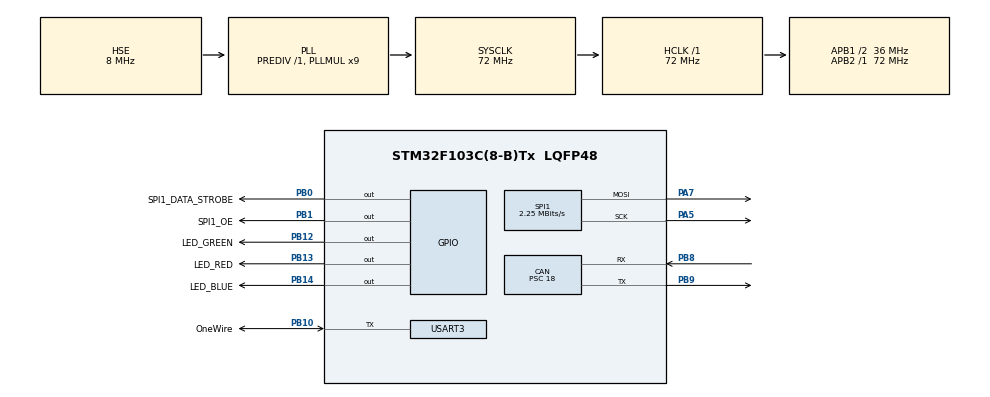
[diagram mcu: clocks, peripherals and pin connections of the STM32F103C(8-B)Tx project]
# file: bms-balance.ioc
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CAN.BS1=CAN_BS1_2TQ
CAN.CalculateBaudRate=500000
CAN.CalculateTimeBit=2000
CAN.CalculateTimeQuantum=500.0
CAN.Prescaler=18
Dma.Request0=USART3_TX
Dma.Request1=USART3_RX
Dma.USART3_RX.1.Direction=DMA_PERIPH_TO_MEMORY
Dma.USART3_RX.1.Instance=DMA1_Channel3
Dma.USART3_RX.1.MemDataAlignment=DMA_MDATAALIGN_BYTE
Dma.USART3_RX.1.MemInc=DMA_MINC_ENABLE
Dma.USART3_RX.1.Mode=DMA_NORMAL
Dma.USART3_RX.1.PeriphDataAlignment=DMA_PDATAALIGN_BYTE
Dma.USART3_RX.1.PeriphInc=DMA_PINC_DISABLE
Dma.USART3_RX.1.Priority=DMA_PRIORITY_LOW
Dma.USART3_TX.0.Direction=DMA_MEMORY_TO_PERIPH
Dma.USART3_TX.0.Instance=DMA1_Channel2
Dma.USART3_TX.0.MemDataAlignment=DMA_MDATAALIGN_BYTE
Dma.USART3_TX.0.MemInc=DMA_MINC_ENABLE
Dma.USART3_TX.0.Mode=DMA_NORMAL
Dma.USART3_TX.0.PeriphDataAlignment=DMA_PDATAALIGN_BYTE
Dma.USART3_TX.0.PeriphInc=DMA_PINC_DISABLE
Dma.USART3_TX.0.Priority=DMA_PRIORITY_LOW
Mcu.Family=STM32F1
Mcu.Name=STM32F103C(8-B)Tx
Mcu.Package=LQFP48
NVIC.CAN1_RX1_IRQn=true\:0\:0\:false\:false\:true\:true\:true\:true
NVIC.DMA1_Channel2_IRQn=true\:0\:0\:false\:false\:true\:false\:true\:true
NVIC.DMA1_Channel3_IRQn=true\:0\:0\:false\:false\:true\:false\:true\:true
NVIC.PriorityGroup=NVIC_PRIORITYGROUP_4
NVIC.SPI1_IRQn=true\:0\:0\:false\:false\:true\:true\:true\:true
NVIC.TIM4_IRQn=true\:0\:0\:false\:false\:true\:true\:true\:true
NVIC.USART3_IRQn=true\:0\:0\:false\:false\:true\:true\:true\:true
NVIC.USB_LP_CAN1_RX0_IRQn=true\:0\:0\:false\:false\:true\:true\:true\:true
PA1.GPIO_Label=WS2812B_LED
PA1.GPIO_Speed=GPIO_SPEED_FREQ_HIGH
PA1.Signal=S_TIM2_CH2
PA13.Mode=Serial_Wire
PA13.Signal=SYS_JTMS-SWDIO
PA14.Mode=Serial_Wire
PA14.Signal=SYS_JTCK-SWCLK
PA5.Mode=TX_Only_Simplex_Unidirect_Master
PA5.Signal=SPI1_SCK
PA7.Mode=TX_Only_Simplex_Unidirect_Master
PA7.Signal=SPI1_MOSI
PB0.GPIO_Label=SPI1_DATA_STROBE
PB0.GPIO_PuPd=GPIO_NOPULL
PB0.GPIO_Speed=GPIO_SPEED_FREQ_LOW
PB0.PinState=GPIO_PIN_RESET
PB0.Signal=GPIO_Output
PB1.GPIO_Label=SPI1_OE
PB1.GPIO_PuPd=GPIO_PULLUP
PB1.GPIO_Speed=GPIO_SPEED_FREQ_LOW
PB1.PinState=GPIO_PIN_SET
PB1.Signal=GPIO_Output
PB10.GPIO_Label=OneWire
PB10.Mode=Half_duplex(single_wire_mode)
PB10.Signal=USART3_TX
PB12.GPIO_Label=LED_GREEN
PB12.Signal=GPIO_Output
PB13.GPIO_Label=LED_RED
PB13.Signal=GPIO_Output
PB14.GPIO_Label=LED_BLUE
PB14.Signal=GPIO_Output
PB3.Signal=SYS_JTDO-TRACESWO
PB8.Mode=CAN_Activate
PB8.Signal=CAN_RX
PB9.Mode=CAN_Activate
PB9.Signal=CAN_TX
PC14-OSC32_IN.Signal=RCC_OSC32_IN
PC15-OSC32_OUT.Signal=RCC_OSC32_OUT
PD0-OSC_IN.Mode=HSE-External-Oscillator
PD0-OSC_IN.Signal=RCC_OSC_IN
PD1-OSC_OUT.Mode=HSE-External-Oscillator
PD1-OSC_OUT.Signal=RCC_OSC_OUT
ProjectManager.HeapSize=0x200
ProjectManager.StackSize=0x400
ProjectManager.TargetToolchain=STM32CubeIDE
RCC.ADCPresc=RCC_ADCPCLK2_DIV6
RCC.AHBFreq_Value=72000000
RCC.APB1CLKDivider=RCC_HCLK_DIV2
RCC.APB1Freq_Value=36000000
RCC.APB1TimFreq_Value=72000000
RCC.APB2Freq_Value=72000000
RCC.APB2TimFreq_Value=72000000
RCC.HCLKFreq_Value=72000000
RCC.PLLMUL=RCC_PLL_MUL9
RCC.PLLSourceVirtual=RCC_PLLSOURCE_HSE
RCC.RTCClockSelection=RCC_RTCCLKSOURCE_HSE_DIV128
RCC.SYSCLKFreq_VALUE=72000000
RCC.SYSCLKSource=RCC_SYSCLKSOURCE_PLLCLK
RCC.USBFreq_Value=48000000
RCC.USBPrescaler=RCC_USBCLKSOURCE_PLL_DIV1_5
SH.S_TIM2_CH2.0=TIM2_CH2
SPI1.BaudRatePrescaler=SPI_BAUDRATEPRESCALER_32
SPI1.CLKPolarity=SPI_POLARITY_HIGH
SPI1.CalculateBaudRate=2.25 MBits/s
SPI1.Direction=SPI_DIRECTION_2LINES
SPI1.Mode=SPI_MODE_MASTER
SPI1.VirtualType=VM_MASTER
TIM2.Period=104
TIM4.AutoReloadPreload=TIM_AUTORELOAD_PRELOAD_ENABLE
TIM4.Period=10000-1
TIM4.Prescaler=72-1
USART3.VirtualMode=VM_ASYNC
VP_CRC_VS_CRC.Mode=CRC_Activate
VP_TIM2_VS_ClockSourceINT.Mode=Internal
VP_TIM4_VS_ClockSourceINT.Mode=Internal
board=custom

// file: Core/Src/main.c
/* USER CODE BEGIN Header */
/**
  ******************************************************************************
  * @file           : main.c
  * @brief          : Main program body
  ******************************************************************************
  * @attention
  *
  * Copyright (c) 2023 STMicroelectronics.
  * All rights reserved.
  *
  * This software is licensed under terms that can be found in the LICENSE file
  * in the root directory of this software component.
  * If no LICENSE file comes with this software, it is provided AS-IS.
  *
  ******************************************************************************
  */
/* USER CODE END Header */
#include "main.h"
#include "can.h"
#include "crc.h"
#include "dma.h"
#include "spi.h"
#include "tim.h"
#include "usart.h"
#include "gpio.h"

/* USER CODE BEGIN Includes */
#include <stdio.h>
#include <math.h>
#include <string.h>

//#include "OneWire.h"
#include "dallas_temperature.h"
#include "UartOneWire.h"

#include <blk_balancer.h>
#ifdef __WS2812B__
#include "ws2812b.h"
#endif

#if __has_include("gitcommit.h")
	#include "gitcommit.h"
#else
	#define __GIT_SHORT_HASH__ 0x0000000
	#define __GIT_BRANCH__ "none"
	#define __GIT_DATE_STR__ "2025-01-25"
	#define __GIT_DATE_UT__ 1732571756
#endif

/* Fash memory organisation

		0x8020000 -> +-------------+   \
					 | 0x801FC00   |	\
					 |    to       |	 \
					 | 0x802FFFF   |	  |- Reserved for checksum and other informations
					 |   1 KB      |	 /
					 | data        |	/
		0x801FC00 -> +-------------+   {
					 | 0x801F800   |	\
					 |    to       |	 \
					 | 0x801FBFF   |	  |- Bootloader and device Config-Stuff
					 |   1 KB      |	 /		(Dev-Addr->Can-ID, can-baudrate, Boardtype, Boardversion ...)
					 | data        |	/		 @see dev_config_regs
		0x801F800 -> +-------------+   {
					 | 0x801F000   |	\
					 |    to       |	 \
					 | 0x801F7FF   |	  |- Applicaton Configdata
					 |   2 KB      |	 /		(Tempsensor ID-Lookup table, Calibration-Data, Thresholds, ...)
					 | data        |	/		 @see app_cfg_regs
		0x801F000 -> +-------------+   {
					 |             |	\
					 |             |	 \
					 |             |	  |
					 |             |	  |
					 | 0x8008000   |	  |
					 |    to       |	  |
					 | 0x801EFFF   |	  |- Contain the application software (this project)
					 |   92 KB     |	  |
					 | application |	  |
					 |             |	  |
					 |             |	  |
					 |             |	 /
					 |             |	/
		0x8008000 -> +-------------+   {
					 |             |	\
					 | 0x8000000   |	 \
					 |    to       |	  |
					 | 0x8007FFF   |	  |- Contain bootloader software
					 |   32 KB     |	  |		@see CAN_BOOT-Projecz
					 | bootloader  |	 /
					 |             |	/
		0x8000000 -> +-------------+   /
 */

/* USER CODE END Includes */

/* USER CODE BEGIN PV */
uint8_t main_task_scheduler;
uint8_t alive_timer;
uint16_t timer_10ms;

extern UART_HandleTypeDef huart3;
UartOneWire_HandleTypeDef ow;
DallasTemperatureData dt;

uint8_t resolution = TEMP_12_BIT;

//#define __DEBUG__

#ifdef __DEBUG__
////alles was persistend (im Flash) gespeichert werden soll, z.b. Kalibration, ...
__attribute__((__section__(".dev_config"))) const _DEV_CONFIG_REGS dev_config_regs = {
	__DEV_ID__,
	__BOARD_TYPE__,
	__BOARD_NAME__,
	__BOARD_VERSION__,
	__BOARD_MF_DATE__,
	DEAULT_BL_CAN_BITRATE,
	DEAULT_APP_CAN_BITRATE,
	DEAULT_TRIPP_CAN_ID,
	DEAULT_BROADCAST_CAN_ID
};
#endif

////Boardinfoname , ...
__attribute__((__section__(".board_info"))) _BOARD_INFO_STRUCT board_name = {__BOARD_NAME__};

////Softwareinfo, ...
__attribute__((__section__(".sw_info"))) const _SW_INFO_REGS sw_info_regs = {
	__SW_NAME__,
#ifdef __DEBUG__
	"Debug",
#else
	"Release",
#endif
	__SW_RELEASE__,
	__SW_RELEASE_DATE__,
	{	//git-info aus gitcommit.h
		__GIT_SHORT_HASH__,
		__GIT_DATE_UT__,
		__GIT_DATE_STR__,
		__GIT_BRANCH__,
	}
};

////alles was persistend (im Flash) gespeichert werden soll, z.b. Kalibration, ...
__attribute__((__section__(".app_config"))) const _BMS_BALANCE_CONFIG_REGS app_cfg_regs = {
#if defined (__DEBUG__)
	((1<<REG_ALERT_HEAT_SINK_TEMP) | (0<<REG_ALERT_BLK_VOLTAGE) | (0<<REG_ALERT_BLK_DIFF_VOLTAGE)), //allert_mask

	((0<<REG_ALERT_HEAT_SINK_TEMP) | (0<<REG_ALERT_BLK_VOLTAGE) | (0<<REG_ALERT_BLK_DIFF_VOLTAGE)), //crit_allert_mask
#else
	((1<<REG_ALERT_HEAT_SINK_TEMP) | (1<<REG_ALERT_BLK_VOLTAGE) | (1<<REG_ALERT_BLK_DIFF_VOLTAGE)), //allert_mask

	((0<<REG_ALERT_HEAT_SINK_TEMP) | (1<<REG_ALERT_BLK_VOLTAGE) | (1<<REG_ALERT_BLK_DIFF_VOLTAGE)), //crit_allert_mask
#endif
	{
		{5500,7900,(ENABLE_MAX_THRESHOLD|ENABLE_MIN_THRESHOLD)}, //blk_voltage 1/100 Volt
		{0,200,(ENABLE_MAX_THRESHOLD)}, //blk_voltage_div 1/1000 Volt
		{50,500,(ENABLE_MAX_THRESHOLD|ENABLE_MIN_THRESHOLD)}, //heatsink_temperature 1/10 °C
	}
};

//#if defined (__DEBUG__) && defined(__ALERT_DEBUG__)

const _DEV_CONFIG_REGS* pDevConfig = (const _DEV_CONFIG_REGS*)DEV_CONFIG_FL_ADDRESS;

/**
 * @var		main_regs
 * @brief	Registersatz im Ram (Arbeitsregister)
 * @see		MAIN_REGS
 * @see		main_ee_regs
 *
 */
_MAIN_REGS main_regs = {
	//!<RW CTRL Ein-/Ausschalten usw.  (1 BYTE )
	((1<<REG_CTRL_ACTIVATE) | (1<<REG_CTRL_CRIT_ALERT) | (1<<REG_CTRL_ENABLE_BB)  | (1<<REG_CTRL_ENABLE_OW) | (1<<REG_CTRL_ENABLE_WS2815) ),

	SYS_OK,
	ERR_NONE,
	STATE_OFF,

	ALIVE_TIMEOUT_10MS,

	0,
	0,
	0,
	0,
	0,
	0,

	{},	//_BMS_BALANCE_CONFIG_REGS	cfg_regs;
	{},	//_DEV_CONFIG_REGS			dev_config;	//copy of dev-config
	{},	//_SW_INFO_REGS				sw_info;	//copy of sw_info
	{},	//_BOARD_INFO_STRUCT		board_info;	//copy of board_info
};

/* USER CODE END PV */

void SystemClock_Config(void);
/* USER CODE BEGIN PFP */
uint8_t process_10Ms_Timer(void);
void 	AlertHandler(void);
uint8_t check_AlertThresholds(void);
/* USER CODE END PFP */

/* USER CODE BEGIN 0 */
int _write(int file, char *ptr, int len)
 {
	 int DataIdx;
	 for (DataIdx = 0; DataIdx < len; DataIdx++)
	 {
		 ITM_SendChar(*ptr++);
	 }
	 return len;
 }

_LED_SIGNAL_STATE	led_signal_state={1,SLOW_FLASH,OFF,OFF};

/****************************************************************************
  * @brief  The application entry point.
  * @retval int
  */
void set_signal_led(uint8_t led, _LED_SIGNAL_MASK mask)
{
	if(led & GREEN_LED)
		led_signal_state.green_led_mask=mask;

	if(led & RED_LED)
		led_signal_state.red_led_mask=mask;

	if(led & BLUE_LED) {
		led_signal_state.blue_led_mask=mask;
		led_signal_state.mask=1;
	}

	return;
}

/****************************************************************************
  * @brief  The application entry point.
  * @retval int
  */
void signal_led_task(void)
{

	if(led_signal_state.green_led_mask & led_signal_state.mask) {
		HAL_GPIO_WritePin(LED_GREEN_GPIO_Port, LED_GREEN_Pin, GPIO_PIN_SET);
	}else {
		HAL_GPIO_WritePin(LED_GREEN_GPIO_Port, LED_GREEN_Pin, GPIO_PIN_RESET);
	}

	if(led_signal_state.red_led_mask & led_signal_state.mask) {
		HAL_GPIO_WritePin(LED_RED_GPIO_Port, LED_RED_Pin, GPIO_PIN_SET);
	}else {
		HAL_GPIO_WritePin(LED_RED_GPIO_Port, LED_RED_Pin, GPIO_PIN_RESET);
	}

	if(led_signal_state.blue_led_mask & led_signal_state.mask) {
		HAL_GPIO_WritePin(LED_BLUE_GPIO_Port, LED_BLUE_Pin, GPIO_PIN_SET);
		led_signal_state.blue_led_mask &= + ~led_signal_state.mask;
	}else {
		HAL_GPIO_WritePin(LED_BLUE_GPIO_Port, LED_BLUE_Pin, GPIO_PIN_RESET);
	}

	led_signal_state.mask<<=1;
	if (!led_signal_state.mask) {
		led_signal_state.mask=1;
	}
}

/* USER CODE END 0 */

int main(void)
{
  /* USER CODE BEGIN 1 */
	uint8_t second_counter=1;
	main_task_scheduler = 0;
	alive_timer = 0;
	timer_10ms = 0;

	memcpy(&main_regs.cfg_regs, &app_cfg_regs, sizeof(_BMS_BALANCE_CONFIG_REGS));

	//copy dev-config from flash to ram (we will use it from ram)
	memcpy(&main_regs.dev_config, pDevConfig, sizeof(_DEV_CONFIG_REGS));

	//copy sofware-info from flash to ram (we will use it from ram)
	memcpy(&main_regs.sw_info, &sw_info_regs, sizeof(_SW_INFO_REGS));

	//copy board-name from flash to ram (we will use it from ram)
	memcpy(&main_regs.board_info, &board_name, sizeof(_BOARD_INFO_STRUCT));

  /* USER CODE END 1 */

  /* MCU Configuration--------------------------------------------------------*/

  /* Reset of all peripherals, Initializes the Flash interface and the Systick. */
  HAL_Init();

  /* Configure the system clock */
  SystemClock_Config();

  /* Initialize all configured peripherals */
  MX_GPIO_Init();
  MX_DMA_Init();
  MX_CAN_Init();
  MX_SPI1_Init();
  MX_CRC_Init();
  MX_USART3_UART_Init();
  MX_TIM4_Init();
  MX_TIM2_Init();
  /* USER CODE BEGIN 2 */

	HAL_CAN_Start(&hcan);

	if (HAL_CAN_ActivateNotification(&hcan, CAN_IT_RX_FIFO0_MSG_PENDING) != HAL_OK) {
		Error_Handler();
	}

	// Start our 10ms timer
	HAL_TIM_Base_Start_IT(&htim4);

  /* USER CODE END 2 */

  /* Infinite loop */
	while (1) {

    /* USER CODE BEGIN 3 */

	  /* PROCESS_PBALANCER  --------------------------------------------------------*/
	  if (main_task_scheduler & PROCESS_BLK_BALANCER) {
		  if (main_regs.ctrl & (1<<REG_CTRL_ENABLE_BB)){

			  if (!process_BlkBalancer()){
				  //check_AllertThrescholds();
				  main_task_scheduler &= ~PROCESS_BLK_BALANCER;
			  }
		  }else {
			  main_task_scheduler &= ~PROCESS_BLK_BALANCER;
		  }
	  }

	  /* PROCESS_CAN  -----------------------------------------------------------*/
	  if (main_task_scheduler & PROCESS_CAN) {
		  if (!process_CAN()){
			  main_task_scheduler &= ~PROCESS_CAN;
		  }
	  }

	  /* PROCESS_10_MS_TASK ------------------------------------------------------*/
	  if (main_task_scheduler & PROCESS_10_MS_TASK) {
		  if (!process_10Ms_Timer()){
			  main_task_scheduler &= ~PROCESS_10_MS_TASK;
		  }
	  }

	  /* PROCESS_100_MS_TASK  -----------------------------------------------------*/
	  if (main_task_scheduler & PROCESS_100_MS_TASK) {
		  main_task_scheduler &= ~PROCESS_100_MS_TASK;

		  signal_led_task();
	  }

	  /* PROCESS_1000_MS_TASK  ----------------------------------------------------*/
	  if (main_task_scheduler & PROCESS_1000_MS_TASK) {
		  main_task_scheduler &= ~PROCESS_1000_MS_TASK;

		  if (!(second_counter%2)) {
		  }
		second_counter++;
	  }

#ifdef __DEBUG__
	  HAL_GPIO_TogglePin(WS2815_ENABLE_GPIO_Port, WS2815_ENABLE_Pin);
#endif
  }
  /* USER CODE END 3 */
}

void SystemClock_Config(void)
{
  RCC_OscInitTypeDef RCC_OscInitStruct = {0};
  RCC_ClkInitTypeDef RCC_ClkInitStruct = {0};

  /** Initializes the RCC Oscillators according to the specified parameters
  * in the RCC_OscInitTypeDef structure.
  */
  RCC_OscInitStruct.OscillatorType = RCC_OSCILLATORTYPE_HSE;
  RCC_OscInitStruct.HSEState = RCC_HSE_ON;
  RCC_OscInitStruct.HSEPredivValue = RCC_HSE_PREDIV_DIV1;
  RCC_OscInitStruct.HSIState = RCC_HSI_ON;
  RCC_OscInitStruct.PLL.PLLState = RCC_PLL_ON;
  RCC_OscInitStruct.PLL.PLLSource = RCC_PLLSOURCE_HSE;
  RCC_OscInitStruct.PLL.PLLMUL = RCC_PLL_MUL9;
  if (HAL_RCC_OscConfig(&RCC_OscInitStruct) != HAL_OK)
  {
    Error_Handler();
  }

  /** Initializes the CPU, AHB and APB buses clocks
  */
  RCC_ClkInitStruct.ClockType = RCC_CLOCKTYPE_HCLK|RCC_CLOCKTYPE_SYSCLK
                              |RCC_CLOCKTYPE_PCLK1|RCC_CLOCKTYPE_PCLK2;
  RCC_ClkInitStruct.SYSCLKSource = RCC_SYSCLKSOURCE_PLLCLK;
  RCC_ClkInitStruct.AHBCLKDivider = RCC_SYSCLK_DIV1;
  RCC_ClkInitStruct.APB1CLKDivider = RCC_HCLK_DIV2;
  RCC_ClkInitStruct.APB2CLKDivider = RCC_HCLK_DIV1;

  if (HAL_RCC_ClockConfig(&RCC_ClkInitStruct, FLASH_LATENCY_2) != HAL_OK)
  {
    Error_Handler();
  }
}

/* USER CODE BEGIN 4 */

//*****************************************************************************
//
//! wird alle 10ms aufgerufen, getriggert durch den Timer4-overrun
//!
//! \fn uint8_t process_10Ms_Timer(void)
//!
//!
//! \return None.
//
//*****************************************************************************
uint8_t check_AlertThresholds(void)
{

	return 0;
}

//*****************************************************************************
//
//! wird alle 10ms aufgerufen, getriggert durch den Timer4-overrun
//!
//! \fn uint8_t process_10Ms_Timer(void)
//!
//!
//! \return None.
//
//*****************************************************************************
uint8_t process_10Ms_Timer(void)
{
	if (alive_timer)
	{
		if (--alive_timer == 0)
		{
			//kritisch
			alive_timer = main_regs.alive_timeout;
			uint8_t alert_msg;
			alert_msg = ERR_ALIVE;
			DoAlert(&alert_msg, 1);
		}
	}

	//HAL_GPIO_WritePin(FAN_SPEED_GPIO_Port, FAN_SPEED_Pin, GPIO_PIN_TOGLE);
	//HAL_GPIO_TogglePin(FAN_SPEED_GPIO_Port,FAN_SPEED_Pin);
	if (main_regs.ctrl & (1<<REG_CTRL_ENABLE_BB))
		process_BlkBalancer();

	if (!(timer_10ms % 10))
	{
		main_task_scheduler |= PROCESS_100_MS_TASK;
	}

	if (!(++timer_10ms % 100))
	{
		main_task_scheduler |= PROCESS_1000_MS_TASK;
	}

	return 0;
}

//*****************************************************************************
//
//! wird im Fehlerfall aufgerufen und aktivert die vollständige Abschaltung
//!
//! \fn void AllertHandler(void)
//!
//!
//! \return None.
//
//*****************************************************************************
void AlertHandler(void)
{
	//send Something?

	if (main_regs.ctrl & (1<<REG_CTRL_ACTIVATE))
	{
		//HAL_GPIO_WritePin(RELAY_2_GPIO_Port, RELAY_2_Pin, GPIO_PIN_SET);
		HAL_GPIO_WritePin(LED_GREEN_GPIO_Port, LED_GREEN_Pin, GPIO_PIN_SET);
		HAL_GPIO_WritePin(LED_RED_GPIO_Port, LED_RED_Pin, GPIO_PIN_SET);
		HAL_GPIO_WritePin(LED_BLUE_GPIO_Port, LED_BLUE_Pin, GPIO_PIN_SET);

		Error_Handler();
	}
}

//*****************************************************************************
//
//! wird im Fehlerfall aufgerufen und aktivert die vollständige Abschaltung
//!
//! \fn void DoAlert(void)
//!
//!
//! \return None.
//
//*****************************************************************************
void DoAlert(uint8_t* p_msg, uint8_t len)
{

	if (main_regs.ctrl & (1<<REG_CTRL_CRIT_ALERT))
	{
		can_send_trip_msg();

		AlertHandler();
	}

	//send Something?
	can_send_allert_msg(p_msg, len);

	main_regs.sys_err=(_SYS_ERR_CODES)p_msg[0];
	main_regs.sys_state=SYS_ERROR;

}

//*****************************************************************************
//
//! Callback: timer has rolled over
//!
//! \fn void HAL_TIM_PeriodElapsedCallback(TIM_HandleTypeDef *htim)
//!
//!
//! \return None.
//
//*****************************************************************************
void HAL_TIM_PeriodElapsedCallback(TIM_HandleTypeDef *htim)
{
  // Check which version of the timer triggered this callback and toggle LED
  if (htim == &htim4 )
  {
    main_task_scheduler |= PROCESS_10_MS_TASK;
  }
}

/* Jump to application -------------------------------------------------------------*/
void JumpToBtld(void){
    uint32_t  JumpAddress = *(__IO uint32_t*)(DEV_BL_ADDRESS + 4);
    pFunction Jump = (pFunction)JumpAddress;

    HAL_RCC_DeInit();
    HAL_DeInit();

    //HAL_NVIC_DisableIRQ();

    SysTick->CTRL = 0;
    SysTick->LOAD = 0;
    SysTick->VAL  = 0;

#if (SET_VECTOR_TABLE)
    SCB->VTOR = DEV_BL_ADDRESS;
#endif

    __set_MSP(*(__IO uint32_t*)DEV_BL_ADDRESS);
    Jump();
}

/* Jump to application -------------------------------------------------------------*/
void JumpToApp(void){
    uint32_t  JumpAddress = *(__IO uint32_t*)(DEV_APP_ADDRESS + 4);
    pFunction Jump = (pFunction)JumpAddress;

    HAL_RCC_DeInit();
    HAL_DeInit();

    //HAL_NVIC_DisableIRQ();

    SysTick->CTRL = 0;
    SysTick->LOAD = 0;
    SysTick->VAL  = 0;

#if (SET_VECTOR_TABLE)
    SCB->VTOR = DEV_APP_ADDRESS;
#endif

    __set_MSP(*(__IO uint32_t*)DEV_APP_ADDRESS);
    Jump();
}

/* USER CODE END 4 */

void Error_Handler(void)
{
  __disable_irq();
  while (1)
  {
  }
}
